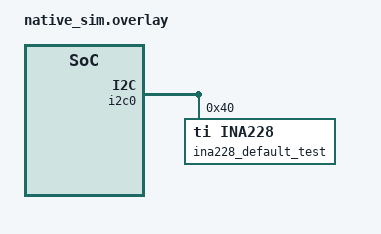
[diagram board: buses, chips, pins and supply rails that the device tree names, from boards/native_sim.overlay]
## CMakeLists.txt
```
# Copyright (c) 2025 Jonas Berg
# SPDX-License-Identifier: Apache-2.0

cmake_minimum_required(VERSION 3.28.0)
find_package(Zephyr REQUIRED HINTS $ENV{ZEPHYR_BASE})

project(device)

target_sources(app
  PRIVATE
  src/emul_ina228.c
  src/ina228_test.c
)

# Include private header for unit tests
zephyr_include_directories(${ZEPHYR_BASE}/drivers/sensor/ti/ina2xx/)
zephyr_include_directories(./src)
```

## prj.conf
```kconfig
# Copyright (c) 2025 Jonas Berg
# SPDX-License-Identifier: Apache-2.0

CONFIG_SENSOR=y
CONFIG_CBPRINTF_FP_SUPPORT=y

CONFIG_ZTEST=y
CONFIG_EMUL=y
CONFIG_I2C_LOG_LEVEL_DBG=y
CONFIG_SENSOR_LOG_LEVEL_DBG=y
```

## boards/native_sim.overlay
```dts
/*
 * Copyright (c) 2025 Jonas Berg
 * SPDX-License-Identifier: Apache-2.0
 */

&i2c0 {
	status = "okay";

	/* Example values from data sheet */
	ina228_default_test: ina228@40 {
		compatible = "ti,ina228";
		reg = <0x40>;
		rshunt-micro-ohms = <16200>;
		current-lsb-microamps = <19>;
		status = "okay";
	};
};
```

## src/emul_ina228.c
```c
/*
 * Copyright (c) 2025 Jonas Berg
 * SPDX-License-Identifier: Apache-2.0
 */

#include <zephyr/device.h>
#include <zephyr/drivers/emul_sensor.h>
#include <zephyr/drivers/emul.h>
#include <zephyr/drivers/i2c_emul.h>
#include <zephyr/drivers/i2c.h>
#include <zephyr/logging/log.h>
#include <zephyr/sys/byteorder.h>
#include <zephyr/sys/util.h>

#include <ina237.h>
#include "emul_ina228.h"

#define DT_DRV_COMPAT ti_ina228

LOG_MODULE_DECLARE(INA2XX, CONFIG_SENSOR_LOG_LEVEL);

/* Number of consecutive registers.
 * There are two additional read-only registers with constant contents.
 */
#define NUM_REGS 18

struct ina228_emul_data {
	uint64_t reg[NUM_REGS];
};

struct ina228_emul_cfg {
	uint16_t addr;
};

const uint8_t register_sizes[] = {2, 2, 2, 2, 3, 3, 2, 3, 3, 5, 5, 2, 2, 2, 2, 2, 2, 2};
const bool write_allowed[] = {true,  true,  true, true, false, false, false, false, false,
			      false, false, true, true, true,  true,  true,  true,  true};

BUILD_ASSERT(ARRAY_SIZE(register_sizes) == NUM_REGS, "Invalid size of register_sizes");
BUILD_ASSERT(ARRAY_SIZE(write_allowed) == NUM_REGS, "Invalid size of write_allowed");

void ina228_emul_set_reg_16(const struct emul *target, uint8_t reg_addr, uint16_t value)
{
	struct ina228_emul_data *data = target->data;

	__ASSERT_NO_MSG(reg_addr < NUM_REGS);

	LOG_DBG("Setting emulated INA228 16-bit register %u: Value 0x%04X", reg_addr, value);

	data->reg[reg_addr] = (uint64_t)value;
}

void ina228_emul_set_reg_24(const struct emul *target, uint8_t reg_addr, uint32_t value)
{
	struct ina228_emul_data *data = target->data;

	__ASSERT_NO_MSG(reg_addr < NUM_REGS);
	__ASSERT_NO_MSG(value <= INA228_UINT24_MAX);

	LOG_DBG("Setting emulated INA228 24-bit register %u: Value 0x%06X", reg_addr, value);

	data->reg[reg_addr] = (uint64_t)value;
}

void ina228_emul_set_reg_40(const struct emul *target, uint8_t reg_addr, uint64_t value)
{
	struct ina228_emul_data *data = target->data;

	__ASSERT_NO_MSG(reg_addr < NUM_REGS);
	__ASSERT_NO_MSG(value <= INA228_UINT40_MAX);

	LOG_DBG("Setting emulated INA228 40-bit register %u: Value 0x%010X", reg_addr, value);

	data->reg[reg_addr] = value;
}

void ina228_emul_get_reg_16(const struct emul *target, uint8_t reg_addr, uint16_t *value)
{
	struct ina228_emul_data *data = target->data;

	__ASSERT_NO_MSG(reg_addr < NUM_REGS);

	*value = (uint16_t)(data->reg[reg_addr] & UINT16_MAX);

	LOG_DBG("Inspecting emulated INA228 16-bit register %u: Value 0x%04X", reg_addr, *value);
}

void ina228_emul_reset(const struct emul *target)
{
	struct ina228_emul_data *data = target->data;

	LOG_DBG("Resetting INA228 emulator registers");

	memset(&data->reg, 0, sizeof(data->reg));
}

static int ina228_emul_init(const struct emul *target, const struct device *parent)
{
	ARG_UNUSED(parent);

	LOG_DBG("Initializing INA228 emulator");

	ina228_emul_reset(target);

	return 0;
}

static int ina228_emul_i2c_write(const struct emul *target, struct i2c_msg msgs[], int num_msgs,
				 int addr)
{
	/* These should have been checked before calling this function */
	__ASSERT_NO_MSG(num_msgs == 1);
	__ASSERT_NO_MSG((msgs[0].flags & I2C_MSG_READ) == 0);

	uint8_t reg_addr;
	uint16_t write_value;
	uint8_t expected_register_size;
	bool is_write_allowed;
	struct ina228_emul_data *data = (struct ina228_emul_data *)target->data;

	/* Write 16 bits */
	if (msgs[0].len != 3) {
		LOG_ERR("Write messages should contain 3 bytes, has %d bytes", msgs[0].len);
		return -EIO;
	}

	reg_addr = msgs[0].buf[0];
	write_value = sys_get_be16(&msgs[0].buf[1]);

	if (reg_addr >= NUM_REGS) {
		LOG_ERR("Invalid register address for write: %02X", reg_addr);
		return -EIO;
	}
	expected_register_size = register_sizes[reg_addr];
	is_write_allowed = write_allowed[reg_addr];

	if (!is_write_allowed) {
		LOG_ERR("Register %u is read-only", reg_addr);
		return -EIO;
	}

	if (expected_register_size != sizeof(uint16_t)) {
		LOG_ERR("Illegal to write to register %u, as the register has size %u bytes",
			reg_addr, expected_register_size);
		return -EIO;
	}

	data->reg[reg_addr] = (uint64_t)write_value;
	LOG_DBG("Write 16 bits to register %u: value 0x%04X via emulated I2C", reg_addr,
		write_value);

	return 0;
}

static int ina228_emul_i2c_read(const struct emul *target, struct i2c_msg msgs[], int num_msgs,
				int addr)
{
	/* These should have been checked before calling this function */
	__ASSERT_NO_MSG(num_msgs == 2);
	__ASSERT_NO_MSG((msgs[0].flags & I2C_MSG_READ) == 0);

	uint32_t read_len;
	uint8_t reg_addr;
	uint8_t expected_register_size;
	struct ina228_emul_data *data = (struct ina228_emul_data *)target->data;

	if (!(msgs[1].flags & I2C_MSG_READ)) {
		LOG_ERR("The second I2C message should be of type read");
		return -EIO;
	}
	if (msgs[0].len != 1) {
		LOG_ERR("First message for read should have 1 byte for register address, but has "
			"%d bytes",
			msgs[0].len);
		return -EIO;
	}

	read_len = msgs[1].len;
	reg_addr = msgs[0].buf[0];
	if ((reg_addr >= NUM_REGS) && (reg_addr != INA237_REG_MANUFACTURER_ID) &&
	    (reg_addr != INA228_REG_DEVICE_ID)) {
		LOG_ERR("Invalid register address for read: %u", reg_addr);
		return -EIO;
	}

	if (reg_addr == INA237_REG_MANUFACTURER_ID) {
		if (read_len != sizeof(uint16_t)) {
			LOG_ERR("Invalid read size for MANUFACTURER_ID: %02X", read_len);
			return -EIO;
		}
		sys_put_be16(0x5449, msgs[1].buf); /* Value from data sheet */
		LOG_DBG("Read 16 bits MANUFACTURER_ID via emulated I2C");
		return 0;
	}

	if (reg_addr == INA228_REG_DEVICE_ID) {
		if (read_len != sizeof(uint16_t)) {
			LOG_ERR("Invalid read size for DEVICE_ID: %u", read_len);
			return -EIO;
		}
		sys_put_be16(0x2281, msgs[1].buf); /* Value from data sheet */
		LOG_DBG("Read 16 bits DEVICE_ID via emulated I2C");
		return 0;
	}

	expected_register_size = register_sizes[reg_addr];
	if (read_len != expected_register_size) {
		LOG_ERR("Invalid read size for register %u: Register is %u bytes, but asked for %u "
			"bytes",
			reg_addr, expected_register_size, read_len);
		return -EIO;
	}

	if (read_len == 2) {
		sys_put_be16(data->reg[reg_addr], msgs[1].buf);
		LOG_DBG("Read 16 bits from register %u: 0x%04X via emulated I2C", reg_addr,
			data->reg[reg_addr]);
		return 0;
	}

	if (read_len == 3) {
		sys_put_be24(data->reg[reg_addr], msgs[1].buf);
		LOG_DBG("Read 24 bits from register %u: 0x%06X via emulated I2C", reg_addr,
			data->reg[reg_addr]);
		return 0;
	}

	if (read_len == 5) {
		sys_put_be40(data->reg[reg_addr], msgs[1].buf);
		LOG_DBG("Read 40 bits from register %u: 0x%010X via emulated I2C", reg_addr,
			data->reg[reg_addr]);
		return 0;
	}

	LOG_ERR("Invalid read size for register %u: %u bytes", reg_addr, read_len);
	return -EIO;
}

static int ina228_emul_transfer_i2c(const struct emul *target, struct i2c_msg msgs[], int num_msgs,
				    int addr)
{
	if (!msgs || num_msgs < 1 || num_msgs > 2) {
		LOG_ERR("Invalid number of I2C messages: %d", num_msgs);
		return -EIO;
	}

	if (msgs[0].flags & I2C_MSG_READ) {
		LOG_ERR("The first I2C message should be write");
		return -EIO;
	}

	if (num_msgs == 1) {
		return ina228_emul_i2c_write(target, msgs, num_msgs, addr);
	}

	return ina228_emul_i2c_read(target, msgs, num_msgs, addr);
}

static const struct i2c_emul_api ina228_emul_api_i2c = {
	.transfer = ina228_emul_transfer_i2c,
};

#define INA228_EMUL(n)                                                                             \
	static const struct ina228_emul_cfg ina228_emul_cfg_##n = {.addr = DT_INST_REG_ADDR(n)};   \
	static struct ina228_emul_data ina228_emul_data_##n = {0};                                 \
	EMUL_DT_INST_DEFINE(n, ina228_emul_init, &ina228_emul_data_##n, &ina228_emul_cfg_##n,      \
			    &ina228_emul_api_i2c, NULL)

DT_INST_FOREACH_STATUS_OKAY(INA228_EMUL)
```

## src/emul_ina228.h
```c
/*
 * Copyright (c) 2025 Jonas Berg
 * SPDX-License-Identifier: Apache-2.0
 */

#ifndef EMUL_INA228_H
#define EMUL_INA228_H

#include <stdint.h>

#define INA228_UINT20_MAX 0xFFFFF
#define INA228_INT20_MAX  0x7FFFF
#define INA228_UINT24_MAX 0xFFFFFF
#define INA228_UINT40_MAX 0xFFFFFFFFFF
#define INA228_INT40_MAX  0x7FFFFFFFFF

/**
 * @brief Prepare the contents of an emulated 16-bit register
 *
 * @param target        Emulator pointer
 * @param reg_addr      Register address
 * @param value         Value to set in the emulated register
 */
void ina228_emul_set_reg_16(const struct emul *target, uint8_t reg_addr, uint16_t value);

/**
 * @brief Prepare the contents of an emulated 24-bit register
 *
 * @param target        Emulator pointer
 * @param reg_addr      Register address
 * @param value         Value to set in the emulated register
 */
void ina228_emul_set_reg_24(const struct emul *target, uint8_t reg_addr, uint32_t value);

/**
 * @brief Prepare the contents of an emulated 40-bit register
 *
 * @param target        Emulator pointer
 * @param reg_addr      Register address
 * @param value         Value to set in the emulated register
 */
void ina228_emul_set_reg_40(const struct emul *target, uint8_t reg_addr, uint64_t value);

/**
 * @brief Read back the contents of an emulated 16-bit register
 *
 * @param target        Emulator pointer
 * @param reg_addr      Register address
 * @param value         Resulting value from the emulated register
 */
void ina228_emul_get_reg_16(const struct emul *target, uint8_t reg_addr, uint16_t *value);

/**
 * @brief Reset the emulated registers
 *
 * @param target        Emulator pointer
 */
void ina228_emul_reset(const struct emul *target);

#endif /* EMUL_INA228_H */
```

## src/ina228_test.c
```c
/*
 * Copyright (c) 2025 Jonas Berg
 * SPDX-License-Identifier: Apache-2.0
 */

#include <zephyr/device.h>
#include <zephyr/devicetree.h>
#include <zephyr/drivers/emul.h>
#include <zephyr/drivers/i2c_emul.h>
#include <zephyr/drivers/sensor.h>
#include <zephyr/ztest.h>

#include <ina237.h>
#include "emul_ina228.h"

struct ina228_fixture {
	const struct device *dev_basic;
	const struct emul *target_basic;
};

/**
 * @brief Convert the 20 lowest bits to a signed value (from two's complement)
 *
 * @param input      Input value
 *
 * @retval converted value
 */
static int32_t ina228_convert_20bits_to_signed(uint32_t input)
{
	if (input <= INA228_INT20_MAX) {
		return (int32_t)input;
	}

	uint32_t intermediate = (~input & INA228_UINT20_MAX) + 1;

	return -((int32_t)intermediate);
}

/**
 * @brief Convert the 40 lowest bits to a signed value (from two's complement)
 *
 * @param input      Input value
 *
 * @retval converted value
 */
static int64_t ina228_convert_40bits_to_signed(uint64_t input)
{
	if (input <= INA228_INT40_MAX) {
		return (int64_t)input;
	}

	uint64_t intermediate = (~input & INA228_UINT40_MAX) + 1;

	return -((int64_t)intermediate);
}

static void *ina228_setup(void)
{
	static struct ina228_fixture fixture = {
		.dev_basic = DEVICE_DT_GET(DT_NODELABEL(ina228_default_test)),
		.target_basic = EMUL_DT_GET(DT_NODELABEL(ina228_default_test)),
	};

	zassert_not_null(fixture.dev_basic);
	zassert_not_null(fixture.target_basic);

	return &fixture;
}

static void ina228_before(void *f)
{
	struct ina228_fixture *fixture = (struct ina228_fixture *)f;

	zassert_true(device_is_ready(fixture->dev_basic), "I2C device %s is not ready",
		     fixture->dev_basic->name);
}

ZTEST_SUITE(ina228, NULL, ina228_setup, ina228_before, NULL, NULL);

/**
 * @brief Test converting 20 bits to signed value
 */
ZTEST(ina228, test_convert_20bits)
{
	zassert_equal(0x00000000, ina228_convert_20bits_to_signed(0x00000000));
	zassert_equal(0x00000001, ina228_convert_20bits_to_signed(0x00000001));
	zassert_equal(0x00000002, ina228_convert_20bits_to_signed(0x00000002));
	zassert_equal(0x00000003, ina228_convert_20bits_to_signed(0x00000003));
	zassert_equal(0x0007FFFD, ina228_convert_20bits_to_signed(0x0007FFFD));
	zassert_equal(0x0007FFFE, ina228_convert_20bits_to_signed(0x0007FFFE));
	zassert_equal(0x0007FFFF, ina228_convert_20bits_to_signed(0x0007FFFF));
	zassert_equal(-0x00080000, ina228_convert_20bits_to_signed(0x00080000));
	zassert_equal(-0x0007FFFF, ina228_convert_20bits_to_signed(0x00080001));
	zassert_equal(-0x0007FFFE, ina228_convert_20bits_to_signed(0x00080002));
	zassert_equal(-0x0007FFFD, ina228_convert_20bits_to_signed(0x00080003));
	zassert_equal(-0x00000003, ina228_convert_20bits_to_signed(0x000FFFFD));
	zassert_equal(-0x00000002, ina228_convert_20bits_to_signed(0x000FFFFE));
	zassert_equal(-0x00000001, ina228_convert_20bits_to_signed(0x000FFFFF));
}

/**
 * @brief Test converting 40 bits to signed value
 */
ZTEST(ina228, test_convert_40bits)
{
	zassert_equal(0x0000000000000000, ina228_convert_40bits_to_signed(0x0000000000000000));
	zassert_equal(0x0000000000000001, ina228_convert_40bits_to_signed(0x0000000000000001));
	zassert_equal(0x0000000000000002, ina228_convert_40bits_to_signed(0x0000000000000002));
	zassert_equal(0x0000000000000003, ina228_convert_40bits_to_signed(0x0000000000000003));
	zassert_equal(0x0000007FFFFFFFFD, ina228_convert_40bits_to_signed(0x0000007FFFFFFFFD));
	zassert_equal(0x0000007FFFFFFFFE, ina228_convert_40bits_to_signed(0x0000007FFFFFFFFE));
	zassert_equal(0x0000007FFFFFFFFF, ina228_convert_40bits_to_signed(0x0000007FFFFFFFFF));
	zassert_equal(-0x0000008000000000, ina228_convert_40bits_to_signed(0x0000008000000000));
	zassert_equal(-0x0000007FFFFFFFFF, ina228_convert_40bits_to_signed(0x0000008000000001));
	zassert_equal(-0x0000007FFFFFFFFE, ina228_convert_40bits_to_signed(0x0000008000000002));
	zassert_equal(-0x0000007FFFFFFFFD, ina228_convert_40bits_to_signed(0x0000008000000003));
	zassert_equal(-0x0000000000000003, ina228_convert_40bits_to_signed(0x000000FFFFFFFFFD));
	zassert_equal(-0x0000000000000002, ina228_convert_40bits_to_signed(0x000000FFFFFFFFFE));
	zassert_equal(-0x0000000000000001, ina228_convert_40bits_to_signed(0x000000FFFFFFFFFF));
}

/**
 * @brief Test reading out values
 *
 * The values are from the example in the data sheet
 */
ZTEST_F(ina228, test_example_from_data_sheet)
{
	uint16_t resulting_registervalue;
	uint16_t resulting_shunt_cal;
	const uint16_t expected_shunt_cal = 4034;
	struct sensor_value sensor_val;
	double reading;

	ina228_emul_get_reg_16(fixture->target_basic, INA237_REG_CONFIG, &resulting_registervalue);
	/*
	 * RST		0	0... .... .... ....
	 * RSTACC	0	.0.. .... .... ....
	 * CONVDLY	0	..00 0000 00.. ....
	 * TEMPCOMP	0	.... .... ..0. ....
	 * ADCRANGE	0	.... .... ...0 ....
	 */
	zexpect_equal(resulting_registervalue, 0x0000, "CONFIG: got 0x%04X",
		      resulting_registervalue);

	ina228_emul_get_reg_16(fixture->target_basic, INA237_REG_ADC_CONFIG,
			       &resulting_registervalue);
	/*
	 * MODE		15	1111 .... .... ....
	 * VBUSCT	5	.... 101. .... ....
	 * VSHCT	5	.... ...1 01.. ....
	 * VTCT		5	.... .... ..10 1...
	 * AVG		0	.... .... .... .000
	 */
	zexpect_equal(resulting_registervalue, 0xFB68, "ADC_CONFIG: got 0x%04X",
		      resulting_registervalue);

	ina228_emul_get_reg_16(fixture->target_basic, INA237_REG_CALIB,
			       &resulting_registervalue);
	resulting_shunt_cal = resulting_registervalue & 0x7FFF;
	zexpect_within(resulting_shunt_cal, expected_shunt_cal, 2,
		       "Expected shunt calib setting 0x%04X, got 0x%04X", expected_shunt_cal,
		       resulting_shunt_cal);

	ina228_emul_get_reg_16(fixture->target_basic, INA228_REG_SHUNT_TEMPCO,
			       &resulting_registervalue);
	/*
	 * TEMPCO	0	..00 0000 0000 0000
	 */
	zexpect_equal(resulting_registervalue, 0x0000, "SHUNT_TEMPCO: got 0x%04X",
		      resulting_registervalue);

	/* Datasheet value 311040 decimal */
	ina228_emul_set_reg_24(fixture->target_basic, INA237_REG_SHUNT_VOLT, 0x4BF00 << 4);

	/* Datasheet value 314572 decimal */
	ina228_emul_set_reg_24(fixture->target_basic, INA237_REG_CURRENT, 0x4CCCC << 4);

	/* Datasheet value 245760 decimal */
	ina228_emul_set_reg_24(fixture->target_basic, INA237_REG_BUS_VOLT, 0x3C000 << 4);

	/* Datasheet value 4718604 decimal */
	ina228_emul_set_reg_24(fixture->target_basic, INA237_REG_POWER, 0x48000C);

	/* Datasheet value 1061683200 decimal */
	ina228_emul_set_reg_40(fixture->target_basic, INA228_REG_ENERGY, 0x003F480000);

	/* Datasheet value 1132462080 decimal */
	ina228_emul_set_reg_40(fixture->target_basic, INA228_REG_CHARGE, 0x0043800000);

	/* Datasheet value 3200 decimal */
	ina228_emul_set_reg_16(fixture->target_basic, INA237_REG_DIETEMP, 0x0C80);

	zassert_ok(sensor_sample_fetch(fixture->dev_basic));

	zassert_ok(sensor_channel_get(fixture->dev_basic, SENSOR_CHAN_VOLTAGE, &sensor_val));
	reading = sensor_value_to_double(&sensor_val);
	zexpect_within(48.0, reading, 1.0e-3, "Got %.6f V", reading);

	zassert_ok(sensor_channel_get(fixture->dev_basic, SENSOR_CHAN_CURRENT, &sensor_val));
	reading = sensor_value_to_double(&sensor_val);
	zexpect_within(6.0, reading, 0.1, "Got %.6f A", reading);

	zassert_ok(sensor_channel_get(fixture->dev_basic, SENSOR_CHAN_POWER, &sensor_val));
	reading = sensor_value_to_double(&sensor_val);
	/* Some difference due to limited resolution in devicetree LSB setting */
	zexpect_within(287, reading, 1, "Got %.6f W", reading);

	zassert_ok(sensor_channel_get(fixture->dev_basic,
				      (enum sensor_channel)SENSOR_CHAN_INA2XX_CHARGE, &sensor_val));
	reading = sensor_value_to_double(&sensor_val);
	/* Some difference due to limited resolution in devicetree LSB setting */
	zexpect_within(21500, reading, 20, "Got %.6f C", reading);

	zassert_ok(sensor_channel_get(fixture->dev_basic,
				      (enum sensor_channel)SENSOR_CHAN_INA2XX_ENERGY, &sensor_val));
	reading = sensor_value_to_double(&sensor_val);
	/* Some difference due to limited resolution in devicetree LSB setting */
	zexpect_within(1032800, reading, 50, "Got %.6f J", reading);

	zassert_ok(sensor_channel_get(fixture->dev_basic, SENSOR_CHAN_DIE_TEMP, &sensor_val));
	reading = sensor_value_to_double(&sensor_val);
	zexpect_within(25, reading, 1.0e-3, "Got %.3f deg C", reading);

	zassert_ok(sensor_channel_get(fixture->dev_basic, SENSOR_CHAN_VSHUNT, &sensor_val));
	reading = sensor_value_to_double(&sensor_val);
	zexpect_within(0.0972, reading, 1.0e-3, "Got %.6f V", reading);
}

/**
 * @brief Test negative values
 */
ZTEST_F(ina228, test_negative_values)
{
	struct sensor_value sensor_val;
	double reading;

	/* Current LSB = 19000 nA according to devicetree settings.
	 * -100 = 0xFFF9C in 20 bit two's complement
	 * This corresponds to -1.9 mA
	 */
	ina228_emul_set_reg_24(fixture->target_basic, INA237_REG_CURRENT, 0xFFF9C << 4);

	/* Charge LSB = 19000 nC (same as devicetree setting for current LSB).
	 * -100 = 0xFFFFFFFF9C in 40 bit two's complement
	 * This corresponds to -1.9 mC
	 */
	ina228_emul_set_reg_40(fixture->target_basic, INA228_REG_CHARGE, 0xFFFFFFFF9C);

	/* Shunt voltage LSB = 312.5 nV for this ADCRANGE.
	 * -100 = 0xFFF9C in 20 bit two's complement
	 * This corresponds to -31.55 uV
	 */
	ina228_emul_set_reg_24(fixture->target_basic, INA237_REG_SHUNT_VOLT, 0xFFF9C << 4);

	/* Temperature LSB = 7.8125 mdegC
	 * -100 = 0xFF9C in 20 bit two's complement
	 * This corresponds to -0.78125 deg C
	 */
	ina228_emul_set_reg_16(fixture->target_basic, INA237_REG_DIETEMP, 0xFF9C);

	ina228_emul_set_reg_24(fixture->target_basic, INA237_REG_BUS_VOLT, 0x000000);
	ina228_emul_set_reg_24(fixture->target_basic, INA237_REG_POWER, 0x000000);
	ina228_emul_set_reg_40(fixture->target_basic, INA228_REG_ENERGY, 0x0000000000);

	zassert_ok(sensor_sample_fetch(fixture->dev_basic));

	zassert_ok(sensor_channel_get(fixture->dev_basic, SENSOR_CHAN_CURRENT, &sensor_val));
	reading = sensor_value_to_double(&sensor_val);
	zexpect_within(-1.907e-3, reading, 1.0e-5, "Got %.6f A", reading);

	zassert_ok(sensor_channel_get(fixture->dev_basic,
				      (enum sensor_channel)SENSOR_CHAN_INA2XX_CHARGE, &sensor_val));
	reading = sensor_value_to_double(&sensor_val);
	zexpect_within(-1.907e-3, reading, 1.0e-5, "Got %.6f C", reading);

	zassert_ok(sensor_channel_get(fixture->dev_basic, SENSOR_CHAN_DIE_TEMP, &sensor_val));
	reading = sensor_value_to_double(&sensor_val);
	zexpect_within(-0.78125, reading, 1.0e-3, "Got %.3f deg C", reading);

	zassert_ok(sensor_channel_get(fixture->dev_basic, SENSOR_CHAN_VSHUNT, &sensor_val));
	reading = sensor_value_to_double(&sensor_val);
	zexpect_within(-3.155e-5, reading, 1.0e-6, "Got %.6f V", reading);
}

/**
 * @brief Test invalid channel
 */
ZTEST_F(ina228, test_invalid_channel)
{
	struct sensor_value sensor_val;

	ina228_emul_set_reg_24(fixture->target_basic, INA237_REG_CURRENT, 0x0000);
	ina228_emul_set_reg_40(fixture->target_basic, INA228_REG_CHARGE, 0x0000000000);
	ina228_emul_set_reg_24(fixture->target_basic, INA237_REG_SHUNT_VOLT, 0x00000);
	ina228_emul_set_reg_16(fixture->target_basic, INA237_REG_DIETEMP, 0x0000);
	ina228_emul_set_reg_24(fixture->target_basic, INA237_REG_BUS_VOLT, 0x000000);
	ina228_emul_set_reg_24(fixture->target_basic, INA237_REG_POWER, 0x000000);
	ina228_emul_set_reg_40(fixture->target_basic, INA228_REG_ENERGY, 0x0000000000);

	zassert_ok(sensor_sample_fetch(fixture->dev_basic));

	zassert_not_ok(sensor_channel_get(fixture->dev_basic, SENSOR_CHAN_ALTITUDE, &sensor_val));
}
```
